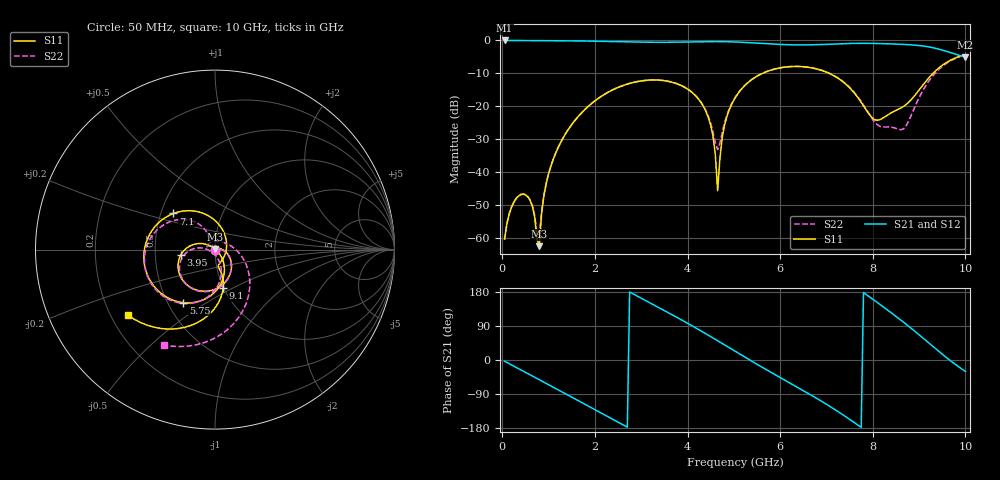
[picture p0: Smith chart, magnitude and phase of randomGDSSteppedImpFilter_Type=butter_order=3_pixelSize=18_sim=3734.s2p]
! freq	dB(S11)	phase(S11)	dB(S12)	phase(S12)
!  dB(S21)	phase(S21)	dB(S22)	phase(S22)
!S-par simulation data
#  GHz  S  DB  R 50
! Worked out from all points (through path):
!   200 points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, 50 MHz to 10 GHz, reference 50 ohm
!   highest |S21| = -0.01 dB at 50 MHz (marker M1); lowest = -5.1 dB at 10 GHz (marker M2)
!   group delay of S21, straight-line fit = 203 ps
!   lowest |S11| = -62.4 dB at 800 MHz (marker M3), VSWR 1.00, Z = 50 + j0.0744 ohm
!   |S11| at or under -10 dB: start of sweep to 5.619 GHz; 7.06 GHz to 9.3 GHz (2.239 GHz wide, 27.4 % of centre)
!   |S22| runs from -60.5 to -4.4 dB; largest |S21 - S12| = 0
!   S11 on the Smith chart (normalised r, x): 50 MHz: 1.00, -0.00; 3.95 GHz: 0.68, -0.04; 5.75 GHz: 0.60, -0.40; 7.1 GHz: 0.58, +0.26; 9.1 GHz: 1.00, -0.45; 10 GHz: 0.27, -0.31
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0.05  -60.25 -48.7  -0.01 -3.3  -0.01 -3.3  -60.47 -47.5
0.45  -46.67 -115.1  -0.05 -29.3  -0.05 -29.3  -46.56 -109.8
0.8  -62.43 80.0  -0.07 -52.1  -0.07 -52.1  -58.94 -19.5
0.9  -47.02 38.6  -0.08 -58.7  -0.08 -58.7  -46.79 20.6
1.05  -38.12 25.3  -0.09 -68.5  -0.09 -68.5  -38.05 17.3
1.75  -21.42 -24.0  -0.17 -114.5  -0.17 -114.5  -21.40 -25.3
2.6  -13.72 -81.3  -0.41 -170.7  -0.41 -170.7  -13.70 -80.2
3.4  -12.07 -134.2  -0.56 137.0  -0.56 137.0  -12.05 -130.6
3.95  -14.32 -171.3  -0.49 100.4  -0.49 100.4  -14.28 -164.4
4.45  -23.42 151.9  -0.37 65.4  -0.37 65.4  -23.05 173.1
4.55  -29.04 142.4  -0.36 58.2  -0.36 58.2  -27.76 -179.7
4.65  -45.62 53.9  -0.36 50.9  -0.36 50.9  -33.13 -130.7
4.8  -25.67 -48.4  -0.38 39.9  -0.38 39.9  -24.91 -72.0
5.05  -16.93 -69.0  -0.48 21.4  -0.48 21.4  -16.80 -76.1
5.75  -9.25 -120.9  -1.03 -28.9  -1.03 -28.9  -9.22 -119.9
6.7  -8.38 170.9  -1.33 -94.8  -1.33 -94.8  -8.34 178.5
7.1  -10.27 139.0  -1.13 -124.4  -1.13 -124.4  -10.20 151.9
7.75  -18.76 67.6  -0.88 -177.7  -0.88 -177.7  -18.53 116.2
8.35  -22.37 -65.3  -1.03 129.1  -1.03 129.1  -26.24 142.3
8.7  -19.67 -78.2  -1.23 96.3  -1.23 96.3  -26.32 67.4
9.1  -13.21 -78.0  -1.72 56.3  -1.72 56.3  -14.74 -23.1
10  -4.32 -143.3  -5.12 -30.1  -5.12 -30.1  -4.38 -118.3
